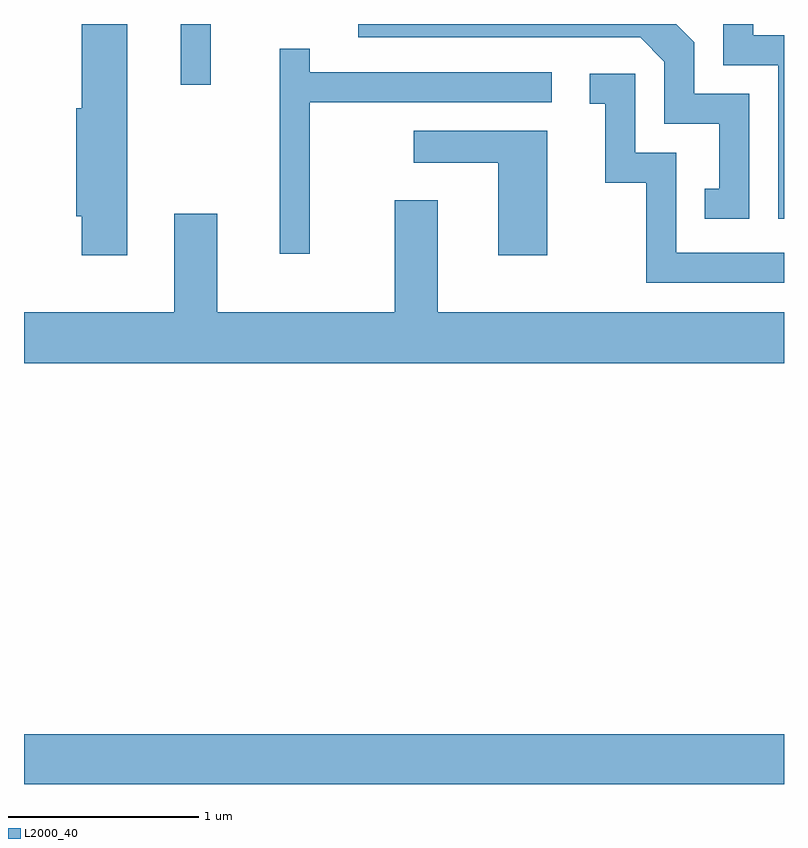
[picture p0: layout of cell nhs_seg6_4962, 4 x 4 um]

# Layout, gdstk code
import gdstk
lib = gdstk.Library(unit=1e-6, precision=1e-09)
def R(c, l, rs):  # rectangles x0, y0, x1, y1
    for r in rs: c.add(gdstk.rectangle(r[:2], r[2:], *l))
def P(c, l, *ps):  # polygons
    for p in ps: c.add(gdstk.Polygon(p, *l))
L2000_40 = (2000, 40)

nhs_seg6_4962 = lib.new_cell('nhs_seg6_4962')
R(nhs_seg6_4962, L2000_40, [(335.611,1652.162,339.611,1652.424), (336.436,1655.843,336.594,1656.162)])
P(nhs_seg6_4962, L2000_40, [(339.429,1655.794),(339.139,1655.794),(339.139,1656.067),(339.044,1656.162),(337.371,1656.162),(337.371,1656.091),(338.854,1656.091),(338.981,1655.964),(338.981,1655.636),(339.271,1655.636),(339.271,1655.294),(339.193,1655.294),(339.193,1655.136),(339.429,1655.136)],
  [(336.154,1656.162),(335.916,1656.162),(335.916,1655.719),(335.886,1655.719),(335.886,1655.151),(335.916,1655.151),(335.916,1654.946),(336.154,1654.946)],
  [(339.611,1656.104),(339.449,1656.104),(339.449,1656.162),(339.291,1656.162),(339.291,1655.946),(339.581,1655.946),(339.581,1655.136),(339.611,1655.136)],
  [(337.114,1655.751),(338.388,1655.751),(338.388,1655.909),(337.114,1655.909),(337.114,1656.033),(336.956,1656.033),(336.956,1654.953),(337.114,1654.953)],
  [(339.611,1654.959),(339.044,1654.959),(339.044,1655.484),(338.829,1655.484),(338.829,1655.899),(338.588,1655.899),(338.588,1655.741),(338.671,1655.741),(338.671,1655.326),(338.886,1655.326),(338.886,1654.801),(339.611,1654.801)],
  [(338.364,1655.599),(337.663,1655.599),(337.663,1655.431),(338.106,1655.431),(338.106,1654.946),(338.364,1654.946)],
  [(339.611,1654.644),(337.789,1654.644),(337.789,1655.234),(337.561,1655.234),(337.561,1654.644),(336.629,1654.644),(336.629,1655.164),(336.401,1655.164),(336.401,1654.644),(335.611,1654.644),(335.611,1654.376),(339.611,1654.376)])

lib.write_gds('nhs_seg6_4962.gds')
